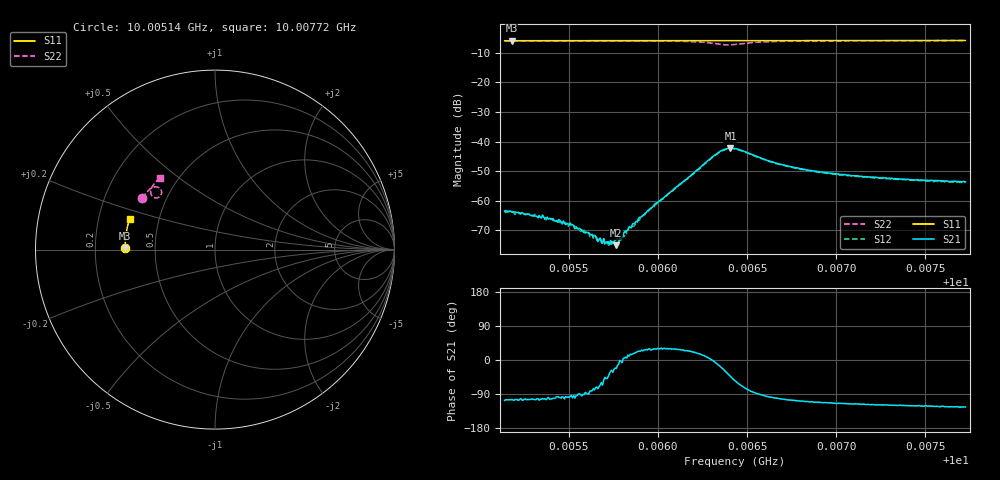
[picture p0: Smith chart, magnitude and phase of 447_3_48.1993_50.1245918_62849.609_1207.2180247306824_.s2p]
#  HZ  S  RI  R  50.00
! Rohde & Schwarz Vector Network Analyzer
! Rohde-Schwarz,ZNB20-2Port,1311601062101988,3.16
! Created: UTC 3/20/2024, 11:56:05 AM
! freq[Hz]  re:S11  im:S11  re:S21  im:S21  re:S12  im:S12  re:S22  im:S22
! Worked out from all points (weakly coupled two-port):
!   401 points, 10.00514 GHz to 10.00772 GHz, reference 50 ohm
!   highest |S21| = -42.25 dB at 10.00641 GHz (marker M1); lowest = -75.0 dB at 10.00577 GHz (marker M2)
!   lowest |S11| = -6.0 dB at 10.00518 GHz (marker M3), VSWR 3.00, Z = 16.7 + j0.391 ohm
!   |S11| at or under -10 dB: nowhere
!   |S22| runs from -7.4 to -6.0 dB; largest |S21 - S12| = 0.00048
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1.000514e10  -0.5002 0.0063  -0.000191 -0.00064  -0.000151 -0.000649  -0.4044 0.2857
1.0005179e10  -0.5001 0.00881  -0.00016 -0.000623  -0.000138 -0.000642  -0.403 0.288
1.0005392e10  -0.5001 0.0229  -0.000119 -0.00049  -7.45e-05 -0.000487  -0.3943 0.3004
1.0005515e10  -0.5 0.0308  -2.51e-05 -0.000394  1.35e-05 -0.000387  -0.3891 0.3078
1.0005573e10  -0.4999 0.0346  -2.75e-05 -0.000319  6.15e-06 -0.000324  -0.3864 0.3113
1.0005599e10  -0.5 0.0362  9.36e-06 -0.000296  2.68e-05 -0.000292  -0.3851 0.3128
1.0005644e10  -0.4998 0.0392  5.19e-05 -0.000258  5.54e-05 -0.000238  -0.383 0.3155
1.0005677e10  -0.4997 0.0414  9.53e-05 -0.000215  0.000109 -0.000194  -0.3811 0.3177
1.0005722e10  -0.4994 0.0442  0.000149 -0.00014  0.000157 -9.54e-05  -0.3788 0.3206
1.0005735e10  -0.4995 0.045  0.000188 -0.000108  0.000158 -8.77e-05  -0.3781 0.3214
1.0005767e10  -0.4994 0.0471  0.000166 -6.71e-05  0.000217 -5.86e-05  -0.3765 0.3233
1.0005793e10  -0.4992 0.0488  0.00022 -1.1e-05  0.000244 1.52e-05  -0.3749 0.325
1.0005825e10  -0.499 0.0509  0.000307 2.76e-05  0.000275 4.98e-05  -0.373 0.3271
1.0006006e10  -0.498 0.0626  0.000863 0.000491  0.000825 0.000494  -0.3595 0.3391
1.0006316e10  -0.4954 0.0826  0.00579 -0.000449  0.00567 -0.000124  -0.302 0.3342
1.0006361e10  -0.4947 0.0852  0.00661 -0.00268  0.00654 -0.00235  -0.2977 0.3133
1.0006407e10  -0.4944 0.0878  0.00563 -0.00529  0.00578 -0.00492  -0.3104 0.2929
1.0006433e10  -0.4941 0.0893  0.0044 -0.00623  0.00466 -0.00587  -0.323 0.2881
1.0006672e10  -0.4923 0.1046  -0.000805 -0.00417  -0.000606 -0.00416  -0.3579 0.3307
1.0006865e10  -0.4899 0.117  -0.00111 -0.00302  -0.000996 -0.00302  -0.3493 0.351
1.0007298e10  -0.4836 0.1442  -0.00118 -0.00211  -0.00107 -0.00211  -0.327 0.3788
1.0007725e10  -0.4758 0.1705  -0.00117 -0.00173  -0.00101 -0.00177  -0.3052 0.3995
